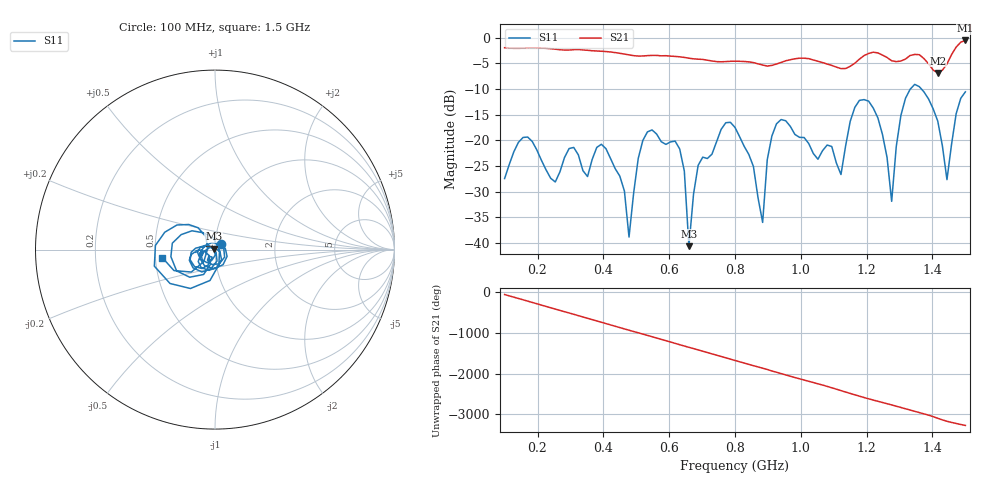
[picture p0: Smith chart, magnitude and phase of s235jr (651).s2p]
! NanoVNA-App
! Date: 2025-09-25 15:09:14
! Start: 100MHz Stop: 1,5GHz Points: 101
! S-Parameter data: F S11 S21 S12 S22
# Hz S RI R 50
!  Frequency  S11_Real  S11_Imag  S21_Real  S21_Imag  S12_Real  S12_Imag  S22_Real  S22_Imag
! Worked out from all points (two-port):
!   101 points, 100 MHz to 1.5 GHz, reference 50 ohm
!   highest |S21| = -0.55 dB at 1.5 GHz (marker M1); lowest = -6.9 dB at 1.416 GHz (marker M2)
!   |S21| within 3 dB of the highest: start of sweep to 498.7 MHz; 525.2 MHz to 594.8 MHz (69.62 MHz wide, 12.4 % of centre) (the widest 2 of 5)
!   lowest |S11| = -40.7 dB at 660 MHz (marker M3), VSWR 1.02, Z = 49.3 + j0.561 ohm
!   |S11| at or under -10 dB: start of sweep to 1.333 GHz; 1.366 GHz to end of sweep
!   S12 and S22 are empty: the file has one direction only
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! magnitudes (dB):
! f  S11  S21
! 100 MHz  -27.5  -2.0
! 156 MHz  -19.5  -2.1
! 338 MHz  -25.9  -2.4
! 408 MHz  -21.7  -2.7
! 478 MHz  -38.9  -3.4
! 520 MHz  -20.0  -3.6
! 576 MHz  -20.3  -3.5
! 632 MHz  -21.7  -3.7
! 660 MHz  -40.7  -4.0
! 688 MHz  -24.9  -4.2
! 800 MHz  -17.5  -4.6
! 884 MHz  -36.0  -5.3
! 926 MHz  -16.8  -5.1
! 1.038 GHz  -22.6  -4.4
! 1.122 GHz  -26.7  -6.0
! 1.164 GHz  -13.6  -5.0
! 1.206 GHz  -12.4  -3.1
! 1.276 GHz  -31.9  -4.5
! 1.332 GHz  -10.1  -3.5
! 1.416 GHz  -16.3  -6.9
! 1.444 GHz  -27.7  -5.1
! 1.5 GHz  -10.6  -0.6
